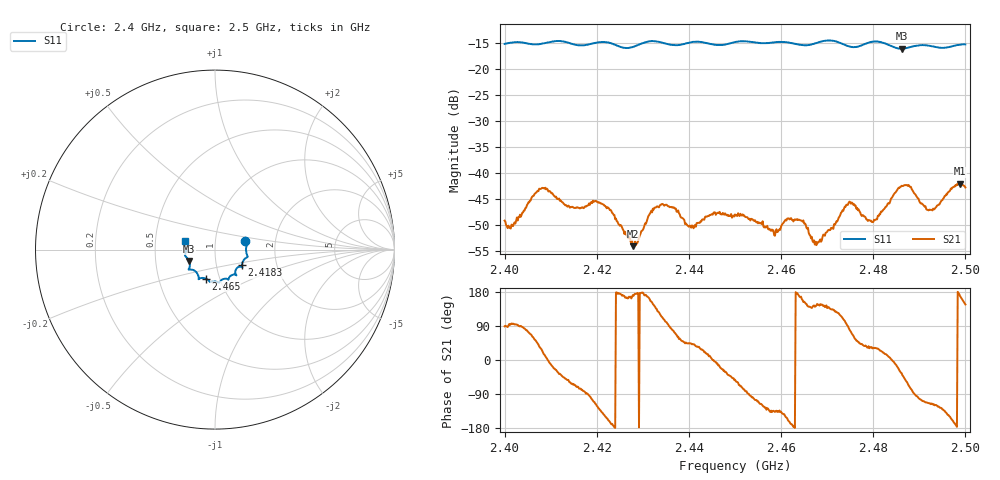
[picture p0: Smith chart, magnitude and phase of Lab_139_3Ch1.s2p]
# Hz S RI R 50
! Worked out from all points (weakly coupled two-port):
!   601 points, 2.4 GHz to 2.5 GHz, reference 50 ohm
!   highest |S21| = -41.97 dB at 2.4988 GHz (marker M1); lowest = -54.0 dB at 2.4278 GHz (marker M2)
!   lowest |S11| = -16.1 dB at 2.4862 GHz (marker M3), VSWR 1.37, Z = 37.2 - j4.81 ohm
!   |S11| at or under -10 dB: start of sweep to end of sweep
!   S12 and S22 are empty: the file has one direction only
!   S11 on the Smith chart (normalised r, x): 2.4 GHz: 1.40, +0.14; 2.4183 GHz: 1.33, -0.24; 2.465 GHz: 0.86, -0.29; 2.5 GHz: 0.71, +0.07
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2.4e9  0.1686 0.0469  7.13e-05 0.00352  0 0  0 0
2.401833e9  0.1771 0.0381  -0.000322 0.0031  0 0  0 0
2.408e9  0.1746 -0.0156  0.00632 0.00339  0 0  0 0
2.416667e9  0.1546 -0.0684  0.000916 -0.00457  0 0  0 0
2.418333e9  0.1501 -0.0871  -0.000368 -0.00513  0 0  0 0
2.422833e9  0.1503 -0.0972  -0.00425 -0.00129  0 0  0 0
2.427833e9  0.1143 -0.1167  -0.00198 0.000299  0 0  0 0
2.433333e9  0.1176 -0.1409  -0.00291 0.00377  0 0  0 0
2.4405e9  0.0754 -0.1656  0.00219 0.00207  0 0  0 0
2.45e9  0.0263 -0.1803  0.00248 -0.00318  0 0  0 0
2.458833e9  -0.0222 -0.1803  -0.00195 -0.00196  0 0  0 0
2.4615e9  -0.03 -0.1781  -0.00345 -0.00131  0 0  0 0
2.465e9  -0.0523 -0.1616  -0.00296 0.00145  0 0  0 0
2.466667e9  -0.0711 -0.1578  -0.00181 0.00167  0 0  0 0
2.468333e9  -0.0857 -0.1612  -0.00181 0.00133  0 0  0 0
2.474667e9  -0.0983 -0.1336  0.000467 0.0052  0 0  0 0
2.4795e9  -0.1447 -0.1112  0.00293 0.00194  0 0  0 0
2.483333e9  -0.1412 -0.0968  0.00511 0.000766  0 0  0 0
2.486167e9  -0.1439 -0.0632  0.00623 -0.00434  0 0  0 0
2.492333e9  -0.1656 -0.0263  -0.00183 -0.00406  0 0  0 0
2.498833e9  -0.1676 0.0407  -0.00782 0.00153  0 0  0 0
2.5e9  -0.1666 0.0469  -0.00611 0.00403  0 0  0 0
